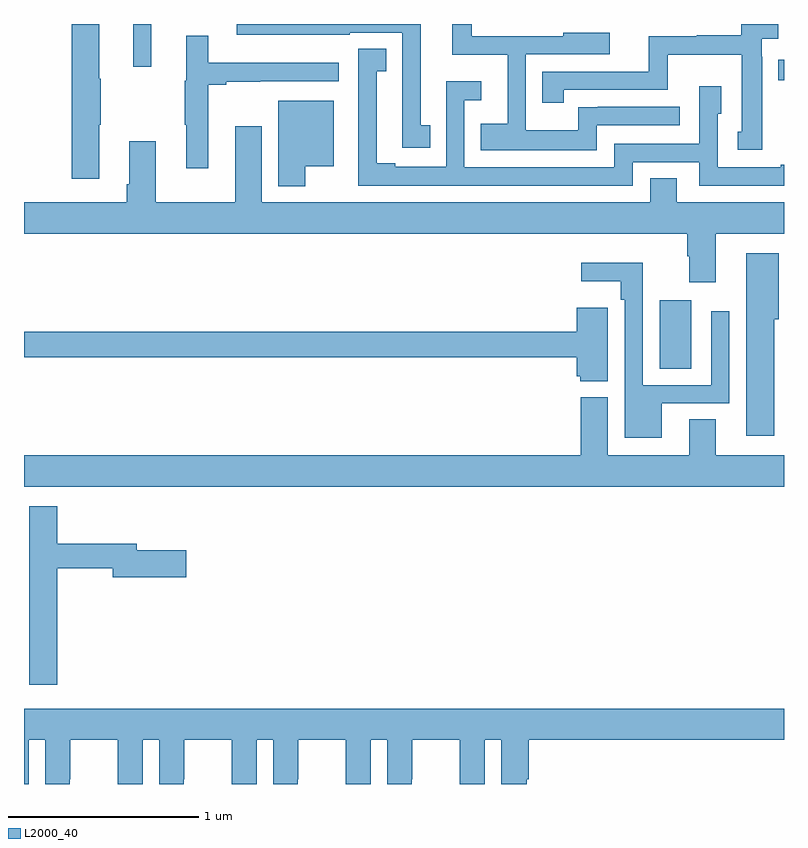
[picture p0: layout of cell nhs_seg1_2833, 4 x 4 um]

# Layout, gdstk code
import gdstk
lib = gdstk.Library(unit=1e-6, precision=1e-09)
def R(c, l, rs):  # rectangles x0, y0, x1, y1
    for r in rs: c.add(gdstk.rectangle(r[:2], r[2:], *l))
def P(c, l, *ps):  # polygons
    for p in ps: c.add(gdstk.Polygon(p, *l))
L2000_40 = (2000, 40)

nhs_seg1_2833 = lib.new_cell('nhs_seg1_2833')
R(nhs_seg1_2833, L2000_40, [(268.346,520.384,268.513,520.746), (268.97,521.904,269,522.012), (265.574,521.973,265.671,522.199)])
P(nhs_seg1_2833, L2000_40, [(265.396,521.668),(265.404,521.668),(265.404,521.912),(265.396,521.912),(265.396,522.199),(265.25,522.199),(265.25,521.385),(265.396,521.385)],
  [(267.137,521.667),(267.088,521.667),(267.088,522.199),(266.12,522.199),(266.12,522.143),(266.715,522.143),(266.715,522.153),(266.991,522.153),(266.991,521.87),(266.99,521.87),(266.99,521.547),(267.137,521.547)],
  [(268.885,522.026),(268.884,522.026),(268.884,522.122),(268.969,522.122),(268.969,522.199),(268.776,522.199),(268.776,522.14),(268.542,522.14),(268.542,522.135),(268.289,522.135),(268.289,521.949),(267.727,521.949),(267.727,521.784),(267.84,521.784),(267.84,521.853),(268.387,521.853),(268.387,522.038),(268.778,522.038),(268.778,521.631),(268.757,521.631),(268.757,521.538),(268.885,521.538)],
  [(268.014,521.667),(268.45,521.667),(268.45,521.763),(268.021,521.763),(268.021,521.762),(267.918,521.762),(267.918,521.641),(267.642,521.641),(267.642,522.039),(268.084,522.039),(268.084,522.154),(267.839,522.154),(267.839,522.135),(267.356,522.135),(267.356,522.199),(267.254,522.199),(267.254,522.038),(267.545,522.038),(267.545,521.674),(267.403,521.674),(267.403,521.534),(268.014,521.534)],
  [(265.969,521.878),(266.065,521.878),(266.065,521.895),(266.243,521.895),(266.243,521.898),(266.656,521.898),(266.656,521.995),(265.969,521.995),(265.969,522.136),(265.853,522.136),(265.853,521.901),(265.846,521.901),(265.846,521.668),(265.853,521.668),(265.853,521.439),(265.969,521.439)],
  [(267.215,521.349),(268.203,521.349),(268.203,521.472),(268.554,521.472),(268.554,521.349),(269,521.349),(269,521.458),(268.982,521.458),(268.982,521.445),(268.65,521.445),(268.65,521.727),(268.669,521.727),(268.669,521.871),(268.554,521.871),(268.554,521.568),(268.107,521.568),(268.107,521.445),(267.318,521.445),(267.318,521.798),(267.406,521.798),(267.406,521.899),(267.222,521.899),(267.222,521.449),(266.953,521.449),(266.953,521.467),(266.857,521.467),(266.857,521.95),(266.906,521.95),(266.906,522.068),(266.76,522.068),(266.76,521.79),(266.759,521.79),(266.759,521.348),(267.215,521.348)],
  [(266.479,521.45),(266.629,521.45),(266.629,521.794),(266.339,521.794),(266.339,521.345),(266.479,521.345)],
  [(268.642,521.096),(269,521.096),(269,521.26),(268.435,521.26),(268.435,521.387),(268.295,521.387),(268.295,521.26),(266.251,521.26),(266.251,521.662),(266.111,521.662),(266.111,521.26),(265.693,521.26),(265.693,521.581),(265.553,521.581),(265.553,521.356),(265.541,521.356),(265.541,521.26),(265,521.26),(265,521.096),(268.49,521.096),(268.49,520.976),(268.502,520.976),(268.502,520.839),(268.642,520.839)],
  [(268.949,520.644),(268.973,520.644),(268.973,520.993),(268.802,520.993),(268.802,520.032),(268.949,520.032)],
  [(268.357,520.203),(268.713,520.203),(268.713,520.687),(268.617,520.687),(268.617,520.299),(268.257,520.299),(268.257,520.942),(267.933,520.942),(267.933,520.844),(268.141,520.844),(268.141,520.748),(268.161,520.748),(268.161,520.022),(268.357,520.022)],
  [(268.072,520.705),(267.908,520.705),(267.908,520.58),(265,520.58),(265,520.444),(267.908,520.444),(267.908,520.344),(267.927,520.344),(267.927,520.319),(268.072,520.319)],
  [(269,519.928),(268.642,519.928),(268.642,520.118),(268.502,520.118),(268.502,519.928),(268.072,519.928),(268.072,520.234),(267.929,520.234),(267.929,519.928),(265,519.928),(265,519.764),(269,519.764)],
  [(265.175,519.334),(265.466,519.334),(265.466,519.287),(265.855,519.287),(265.855,519.429),(265.594,519.429),(265.594,519.463),(265.175,519.463),(265.175,519.661),(265.028,519.661),(265.028,518.721),(265.175,518.721)],
  [(265.024,518.432),(265.112,518.432),(265.112,518.199),(265.242,518.199),(265.242,518.224),(265.243,518.224),(265.243,518.432),(265.493,518.432),(265.493,518.224),(265.494,518.224),(265.494,518.199),(265.624,518.199),(265.624,518.432),(265.712,518.432),(265.712,518.199),(265.842,518.199),(265.842,518.224),(265.843,518.224),(265.843,518.432),(266.093,518.432),(266.093,518.224),(266.094,518.224),(266.094,518.199),(266.224,518.199),(266.224,518.432),(266.312,518.432),(266.312,518.199),(266.442,518.199),(266.442,518.224),(266.443,518.224),(266.443,518.432),(266.693,518.432),(266.693,518.224),(266.694,518.224),(266.694,518.199),(266.824,518.199),(266.824,518.432),(266.912,518.432),(266.912,518.199),(267.042,518.199),(267.042,518.224),(267.043,518.224),(267.043,518.432),(267.293,518.432),(267.293,518.224),(267.294,518.224),(267.294,518.199),(267.424,518.199),(267.424,518.432),(267.512,518.432),(267.512,518.199),(267.646,518.199),(267.646,518.224),(267.656,518.224),(267.656,518.432),(269,518.432),(269,518.596),(265,518.596),(265,518.199),(265.024,518.199)])

lib.write_gds('nhs_seg1_2833.gds')
